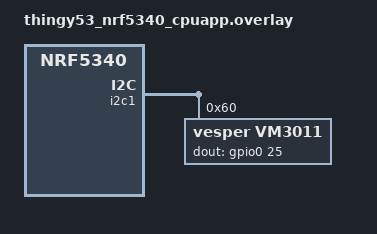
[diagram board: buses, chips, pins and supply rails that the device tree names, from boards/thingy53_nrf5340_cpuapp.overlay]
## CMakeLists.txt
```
cmake_minimum_required(VERSION 3.20.0)

list(APPEND ZEPHYR_EXTRA_MODULES ${CMAKE_CURRENT_SOURCE_DIR}/third_party/vm3011)

find_package(Zephyr REQUIRED HINTS $ENV{ZEPHYR_BASE})

project(embr)

zephyr_include_directories(
  app/include
  platform/include
)

target_sources(
  app PRIVATE src/main.c
)

add_subdirectory(app)
add_subdirectory(platform)

target_link_libraries(app PRIVATE
  embr_app
  embr_platform
)
```

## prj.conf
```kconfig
CONFIG_LOG=y
CONFIG_LOG_MODE_DEFERRED=y
CONFIG_LOG_DEFAULT_LEVEL=3

# Enable RTT Logging
CONFIG_USE_SEGGER_RTT=y
CONFIG_LOG_BACKEND_RTT=y
CONFIG_LOG_BACKEND_UART=n

# Enable VM3011 DMIC driver
CONFIG_AUDIO=y
CONFIG_AUDIO_DMIC=y
CONFIG_VM3011=y
CONFIG_VM3011_PDM_BUFFER_SIZE=4000
CONFIG_VM3011_INT=y
CONFIG_VM3011_WOS_DOUT_THRESHOLD=1
CONFIG_VM3011_HPF_200_KHZ=y
CONFIG_VM3011_LPF_4_KHZ=y


# Edge Impulse-backed builds are enabled only in local/private config.
# Default/public builds use the stub ei_wrap backend.
CONFIG_CPLUSPLUS=y
CONFIG_STD_CPP11=y
CONFIG_LIB_CPLUSPLUS=y
CONFIG_NEWLIB_LIBC=y
CONFIG_NEWLIB_LIBC_FLOAT_PRINTF=y

CONFIG_FP16=n

# Enable Thread networking and the NCS 2.4 socket-based CoAP helper
CONFIG_NETWORKING=y
CONFIG_NET_L2_OPENTHREAD=y
CONFIG_NET_SOCKETS=y
CONFIG_NET_SOCKETS_POSIX_NAMES=y
CONFIG_COAP_UTILS=y

CONFIG_OPENTHREAD_MTD=y
CONFIG_OPENTHREAD_MTD_SED=y
CONFIG_SYSTEM_WORKQUEUE_STACK_SIZE=2048
```

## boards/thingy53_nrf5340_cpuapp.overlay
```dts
&i2c1 {
    vm3011: vm3011@60  {
        compatible = "vesper,vm3011";
        label = "VM3011";
        reg = <0x60>;
        clk-pin = <41>;  
        data-pin = <27>;
        dout-gpios = <&gpio0 25 GPIO_ACTIVE_HIGH>;
    };
};

/ {
    aliases {
        /* VM3011 third_party driver resolves DT_ALIAS(mic0) as its I2C bus. */
        mic0 = &i2c1;
    };
};
```

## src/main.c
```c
#include <zephyr/kernel.h>
#include <zephyr/logging/log.h>
#include <zephyr/sys/reboot.h>

#include "embr_app.h"

LOG_MODULE_REGISTER(app);

int main(void) {
  int err = 0;

  err = embr_app_init();
  if (err) {
    LOG_ERR("embr init failed: %d", err);
    goto fatal;
  }
  LOG_INF("embr init success");

  err = embr_app_start();
  if (err) {
    LOG_ERR("embr start failed: %d", err);
    goto fatal;
  }
  LOG_INF("embr start success");

  k_sleep(K_FOREVER);

fatal:
  // Brief delay to complete logging
  k_sleep(K_MSEC(200));
  sys_reboot(SYS_REBOOT_COLD);
}
```
